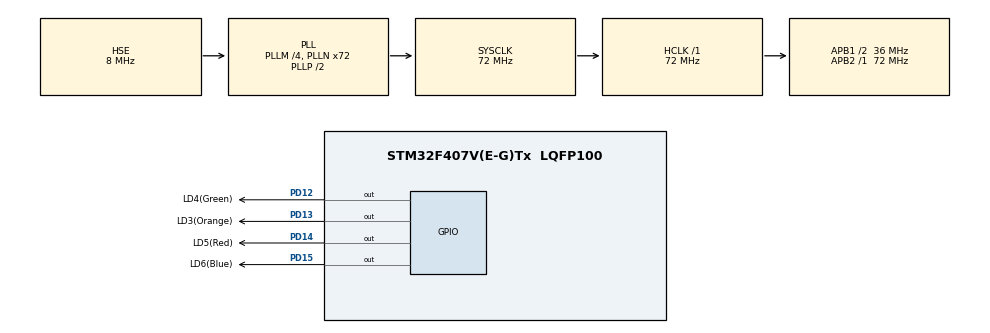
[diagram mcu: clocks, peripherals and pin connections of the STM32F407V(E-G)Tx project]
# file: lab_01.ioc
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Mcu.Family=STM32F4
Mcu.Name=STM32F407V(E-G)Tx
Mcu.Package=LQFP100
NVIC.PriorityGroup=NVIC_PRIORITYGROUP_4
NVIC.TIM2_IRQn=true\:0\:0\:false\:false\:true\:true\:true\:true
PD12.GPIO_Label=LD4(Green)
PD12.GPIO_Speed=GPIO_SPEED_FREQ_VERY_HIGH
PD12.Signal=GPIO_Output
PD13.GPIO_Label=LD3(Orange)
PD13.GPIO_Speed=GPIO_SPEED_FREQ_VERY_HIGH
PD13.Signal=GPIO_Output
PD14.GPIO_Label=LD5(Red)
PD14.GPIO_Speed=GPIO_SPEED_FREQ_VERY_HIGH
PD14.Signal=GPIO_Output
PD15.GPIO_Label=LD6(Blue)
PD15.GPIO_Speed=GPIO_SPEED_FREQ_VERY_HIGH
PD15.Signal=GPIO_Output
PH0-OSC_IN.Mode=HSE-External-Oscillator
PH0-OSC_IN.Signal=RCC_OSC_IN
PH1-OSC_OUT.Mode=HSE-External-Oscillator
PH1-OSC_OUT.Signal=RCC_OSC_OUT
ProjectManager.HeapSize=0x200
ProjectManager.StackSize=0x400
ProjectManager.TargetToolchain=Makefile
RCC.48MHZClocksFreq_Value=36000000
RCC.AHBFreq_Value=72000000
RCC.APB1CLKDivider=RCC_HCLK_DIV2
RCC.APB1Freq_Value=36000000
RCC.APB1TimFreq_Value=72000000
RCC.APB2Freq_Value=72000000
RCC.APB2TimFreq_Value=72000000
RCC.CortexFreq_Value=72000000
RCC.HCLKFreq_Value=72000000
RCC.HSE_VALUE=8000000
RCC.HSI_VALUE=16000000
RCC.LSE_VALUE=32768
RCC.PLLM=4
RCC.PLLN=72
RCC.PLLSourceVirtual=RCC_PLLSOURCE_HSE
RCC.SYSCLKFreq_VALUE=72000000
RCC.SYSCLKSource=RCC_SYSCLKSOURCE_PLLCLK
RCC.VCOOutputFreq_Value=144000000
TIM2.Period=35999
TIM2.Prescaler=1
VP_TIM2_VS_ClockSourceINT.Mode=Internal
board=custom

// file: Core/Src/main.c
/* USER CODE BEGIN Header */
/**
 ******************************************************************************
 * @file           : main.c
 * @brief          : Main program body
 ******************************************************************************
 * @attention
 *
 * Copyright (c) 2026 STMicroelectronics.
 * All rights reserved.
 *
 * This software is licensed under terms that can be found in the LICENSE file
 * in the root directory of this software component.
 * If no LICENSE file comes with this software, it is provided AS-IS.
 *
 ******************************************************************************
 */
/* USER CODE END Header */
#include "main.h"
#include "gpio.h"
#include "tim.h"

/* USER CODE BEGIN PD */
#define DELAY_MS 1000

/* USER CODE END PD */

void SystemClock_Config(void);

void SystemClock_Config(void) {
  RCC_OscInitTypeDef RCC_OscInitStruct = {0};
  RCC_ClkInitTypeDef RCC_ClkInitStruct = {0};

  /** Configure the main internal regulator output voltage
   */
  __HAL_RCC_PWR_CLK_ENABLE();
  __HAL_PWR_VOLTAGESCALING_CONFIG(PWR_REGULATOR_VOLTAGE_SCALE1);

  /** Initializes the RCC Oscillators according to the specified parameters
   * in the RCC_OscInitTypeDef structure.
   */
  RCC_OscInitStruct.OscillatorType = RCC_OSCILLATORTYPE_HSE;
  RCC_OscInitStruct.HSEState = RCC_HSE_ON;
  RCC_OscInitStruct.PLL.PLLState = RCC_PLL_ON;
  RCC_OscInitStruct.PLL.PLLSource = RCC_PLLSOURCE_HSE;
  RCC_OscInitStruct.PLL.PLLM = 4;
  RCC_OscInitStruct.PLL.PLLN = 72;
  RCC_OscInitStruct.PLL.PLLP = RCC_PLLP_DIV2;
  RCC_OscInitStruct.PLL.PLLQ = 4;
  if (HAL_RCC_OscConfig(&RCC_OscInitStruct) != HAL_OK) {
    Error_Handler();
  }

  /** Initializes the CPU, AHB and APB buses clocks
   */
  RCC_ClkInitStruct.ClockType = RCC_CLOCKTYPE_HCLK | RCC_CLOCKTYPE_SYSCLK |
                                RCC_CLOCKTYPE_PCLK1 | RCC_CLOCKTYPE_PCLK2;
  RCC_ClkInitStruct.SYSCLKSource = RCC_SYSCLKSOURCE_PLLCLK;
  RCC_ClkInitStruct.AHBCLKDivider = RCC_SYSCLK_DIV1;
  RCC_ClkInitStruct.APB1CLKDivider = RCC_HCLK_DIV2;
  RCC_ClkInitStruct.APB2CLKDivider = RCC_HCLK_DIV1;

  if (HAL_RCC_ClockConfig(&RCC_ClkInitStruct, FLASH_LATENCY_2) != HAL_OK) {
    Error_Handler();
  }
}

/* USER CODE BEGIN 4 */

int main(void) {
  HAL_Init();
  SystemClock_Config();
  MX_TIM2_Init();
  HAL_TIM_Base_Start_IT(&htim2); // Timer start in interupt mode
  MX_GPIO_Init();
  while (1) {
    timer2_wait_millisec(DELAY_MS);
    gpio_led_state(LED3_ORANGE_ID, 1); // turn on
    gpio_led_state(LED4_GREEN_ID, 1);  // turn on
    gpio_led_state(LED5_RED_ID, 0);    // turn off
    gpio_led_state(LED6_BLUE_ID, 0);   // turn off

    timer2_wait_millisec(DELAY_MS);
    gpio_led_state(LED3_ORANGE_ID, 0); // turn off
    gpio_led_state(LED4_GREEN_ID, 0);  // turn off
    gpio_led_state(LED5_RED_ID, 1);    // turn on
    gpio_led_state(LED6_BLUE_ID, 1);   // turn on
  }
}

/* USER CODE END 4 */

void Error_Handler(void) {
  __disable_irq();
  while (1) {
  }
}
#ifdef USE_FULL_ASSERT
/**
 * @brief  Reports the name of the source file and the source line number
 *         where the assert_param error has occurred.
 * @param  file: pointer to the source file name
 * @param  line: assert_param error line source number
 * @retval None
 */
void assert_failed(uint8_t *file, uint32_t line) {
  /* USER CODE BEGIN 6 */
  /* User can add his own implementation to report the file name and line
     number, ex: printf("Wrong parameters value: file %s on line %d\r\n", file,
     line) */
  /* USER CODE END 6 */
}
#endif /* USE_FULL_ASSERT */
